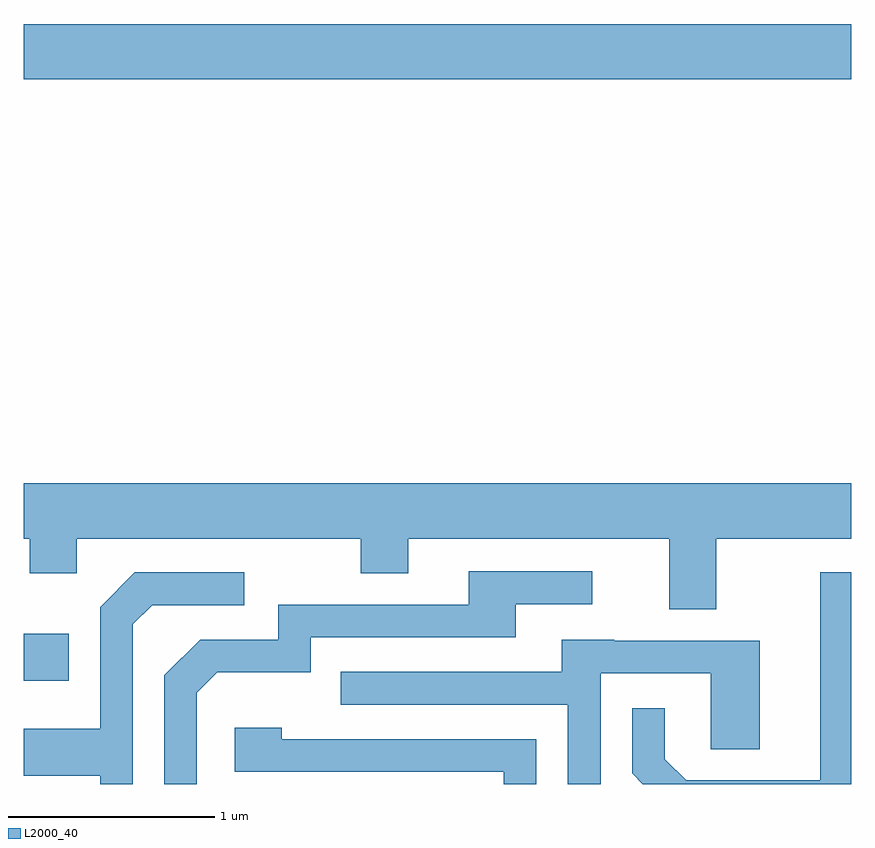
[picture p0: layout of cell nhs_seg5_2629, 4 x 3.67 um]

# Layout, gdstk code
import gdstk
lib = gdstk.Library(unit=1e-6, precision=1e-09)
def R(c, l, rs):  # rectangles x0, y0, x1, y1
    for r in rs: c.add(gdstk.rectangle(r[:2], r[2:], *l))
def P(c, l, *ps):  # polygons
    for p in ps: c.add(gdstk.Polygon(p, *l))
L2000_40 = (2000, 40)

nhs_seg5_2629 = lib.new_cell('nhs_seg5_2629')
R(nhs_seg5_2629, L2000_40, [(263.611,1440.571,263.829,1440.799), (263.611,1443.476,267.611,1443.744)])
P(nhs_seg5_2629, L2000_40, [(266.959,1441.256),(267.611,1441.256),(267.611,1441.524),(263.611,1441.524),(263.611,1441.256),(263.641,1441.256),(263.641,1441.091),(263.869,1441.091),(263.869,1441.256),(265.241,1441.256),(265.241,1441.091),(265.469,1441.091),(265.469,1441.256),(266.731,1441.256),(266.731,1440.916),(266.959,1440.916)],
  [(264.449,1440.514),(264.547,1440.611),(264.999,1440.611),(264.999,1440.781),(265.989,1440.781),(265.989,1440.941),(266.358,1440.941),(266.358,1441.099),(265.761,1441.099),(265.761,1440.939),(264.841,1440.939),(264.841,1440.769),(264.464,1440.769),(264.291,1440.597),(264.291,1440.072),(264.449,1440.072)],
  [(267.611,1441.094),(267.461,1441.094),(267.461,1440.089),(266.812,1440.089),(266.709,1440.192),(266.709,1440.438),(266.551,1440.438),(266.551,1440.124),(266.603,1440.072),(267.611,1440.072)],
  [(264.139,1440.844),(264.232,1440.936),(264.678,1440.936),(264.678,1441.094),(264.149,1441.094),(263.981,1440.927),(263.981,1440.339),(263.611,1440.339),(263.611,1440.111),(263.981,1440.111),(263.981,1440.072),(264.139,1440.072)],
  [(266.399,1440.606),(266.931,1440.606),(266.931,1440.241),(267.169,1440.241),(267.169,1440.764),(266.465,1440.764),(266.465,1440.769),(266.211,1440.769),(266.211,1440.614),(265.143,1440.614),(265.143,1440.456),(266.241,1440.456),(266.241,1440.072),(266.399,1440.072)],
  [(266.089,1440.289),(264.859,1440.289),(264.859,1440.344),(264.631,1440.344),(264.631,1440.131),(265.931,1440.131),(265.931,1440.072),(266.089,1440.072)])

lib.write_gds('nhs_seg5_2629.gds')
